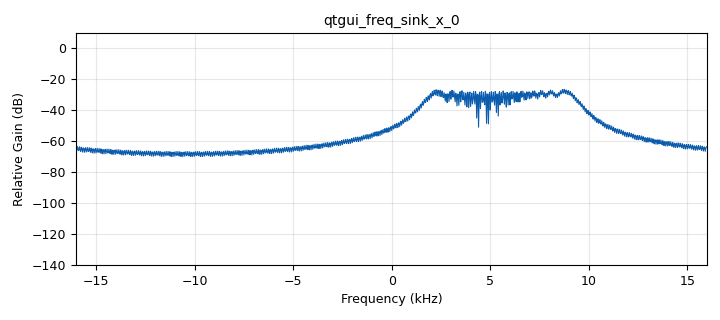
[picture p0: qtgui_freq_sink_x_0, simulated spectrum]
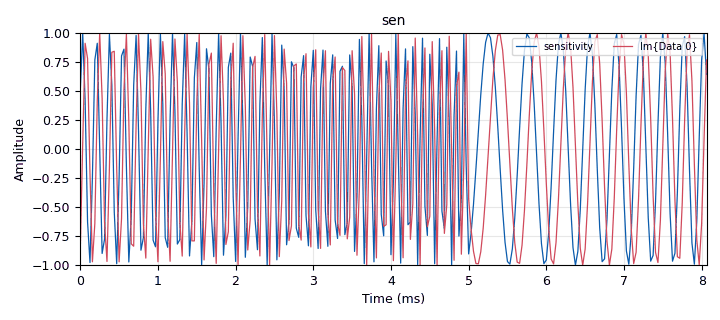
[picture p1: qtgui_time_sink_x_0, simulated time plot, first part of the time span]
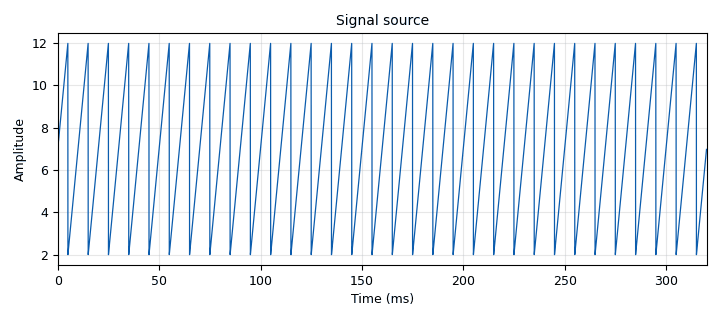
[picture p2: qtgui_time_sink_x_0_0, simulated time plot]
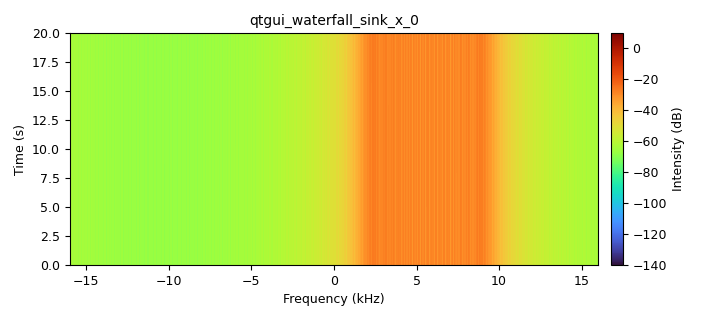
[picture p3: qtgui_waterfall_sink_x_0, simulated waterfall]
options:
  parameters:
    generate_options: qt_gui
    id: radtest
    output_language: python
    title: fmcwradtest
  states: {}

blocks:
- name: samp_rate
  id: variable
  parameters:
    value: '32000'
  states: {}
- name: analog_sig_source_x_0
  id: analog_sig_source_x
  parameters:
    amp: '10'
    freq: '100'
    offset: '2'
    phase: '0'
    samp_rate: samp_rate
    type: float
    waveform: analog.GR_SAW_WAVE
  states: {}
- name: blocks_throttle2_0
  id: blocks_throttle2
  parameters:
    samples_per_second: samp_rate
    type: float
  states: {}
- name: blocks_vco_c_0
  id: blocks_vco_c
  parameters:
    amplitude: '1'
    samp_rate: samp_rate
    sensitivity: '5000'
  states: {}
- name: qtgui_freq_sink_x_0
  id: qtgui_freq_sink_x
  parameters:
    bw: samp_rate
    fc: '0'
    fftsize: '1024'
    type: complex
  states: {}
- name: qtgui_time_sink_x_0
  id: qtgui_time_sink_x
  parameters:
    label1: sensitivity
    name: '"sen"'
    size: '10240'
    srate: samp_rate
    type: complex
  states: {}
- name: qtgui_time_sink_x_0_0
  id: qtgui_time_sink_x
  parameters:
    autoscale: 'True'
    name: '"Signal source"'
    size: '10240'
    srate: samp_rate
    type: float
  states: {}
- name: qtgui_waterfall_sink_x_0
  id: qtgui_waterfall_sink_x
  parameters:
    bw: samp_rate
    fc: '0'
    fftsize: '1024'
    type: complex
  states: {}

connections:
- [analog_sig_source_x_0, '0', blocks_throttle2_0, '0']
- [analog_sig_source_x_0, '0', qtgui_time_sink_x_0_0, '0']
- [blocks_throttle2_0, '0', blocks_vco_c_0, '0']
- [blocks_vco_c_0, '0', qtgui_freq_sink_x_0, '0']
- [blocks_vco_c_0, '0', qtgui_time_sink_x_0, '0']
- [blocks_vco_c_0, '0', qtgui_waterfall_sink_x_0, '0']

metadata:
  file_format: 1
  grc_version: 3.10.12.0
